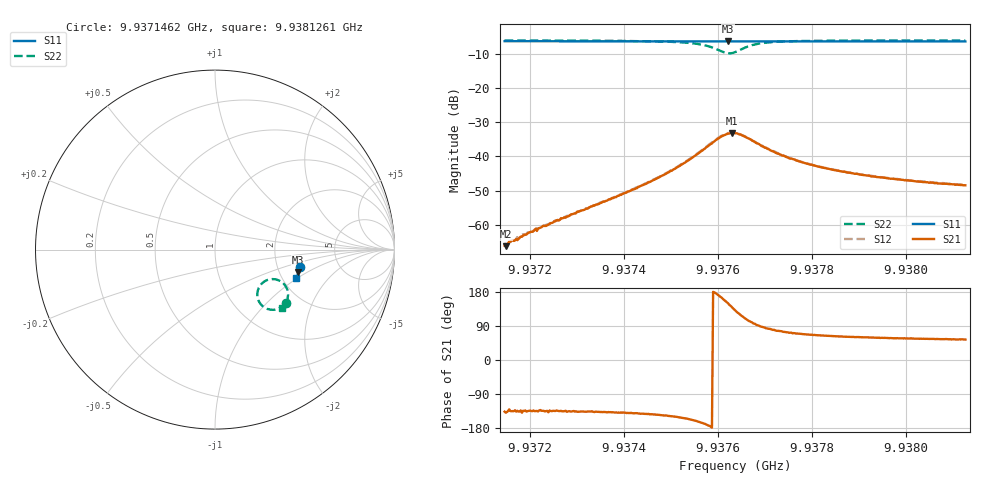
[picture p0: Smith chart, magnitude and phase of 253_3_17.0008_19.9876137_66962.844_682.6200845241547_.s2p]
#  HZ  S  RI  R  50.00
! Rohde & Schwarz Vector Network Analyzer
! Rohde-Schwarz,ZNB20-2Port,1311601062101988,3.16
! Created: UTC 3/20/2024, 11:03:22 PM
! freq[Hz]  re:S11  im:S11  re:S21  im:S21  re:S12  im:S12  re:S22  im:S22
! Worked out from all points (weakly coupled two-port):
!   401 points, 9.9371462 GHz to 9.9381261 GHz, reference 50 ohm
!   highest |S21| = -33.16 dB at 9.9376288 GHz (marker M1); lowest = -66.2 dB at 9.9371487 GHz (marker M2)
!   lowest |S11| = -6.4 dB at 9.9376215 GHz (marker M3), VSWR 2.84, Z = 126 - j41.7 ohm
!   |S11| at or under -10 dB: nowhere
!   |S22| runs from -9.9 to -6.1 dB; largest |S21 - S12| = 0.0011
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9.93714622e9  0.4743 -0.0968  -0.000358 -0.000342  -0.000393 -0.000357  0.3956 -0.3002
9.93714867e9  0.4743 -0.097  -0.000368 -0.00032  -0.000382 -0.00035  0.3953 -0.3002
9.93715847e9  0.474 -0.0977  -0.000399 -0.000403  -0.0004 -0.000391  0.3944 -0.301
9.93717072e9  0.4738 -0.0985  -0.000446 -0.000428  -0.000454 -0.000425  0.3935 -0.302
9.93722461e9  0.4729 -0.1022  -0.000639 -0.000663  -0.000658 -0.000669  0.3891 -0.3062
9.93731035e9  0.4711 -0.1079  -0.00116 -0.00113  -0.00121 -0.00113  0.3807 -0.3135
9.93739609e9  0.4694 -0.1137  -0.00212 -0.00184  -0.00217 -0.00185  0.3683 -0.3223
9.93747448e9  0.4674 -0.1193  -0.00401 -0.00284  -0.00415 -0.00281  0.3479 -0.3312
9.93752347e9  0.4662 -0.1225  -0.0068 -0.00352  -0.00694 -0.00348  0.3226 -0.3355
9.93757001e9  0.4645 -0.1257  -0.0125 -0.00276  -0.0128 -0.00252  0.2761 -0.3228
9.93760431e9  0.4629 -0.1271  -0.0185 0.0041  -0.0189 0.00469  0.2362 -0.2608
9.93762145e9  0.4623 -0.1273  -0.0185 0.0109  -0.0184 0.012  0.2479 -0.2056
9.9376288e9  0.4623 -0.1277  -0.017 0.0139  -0.0165 0.0148  0.2652 -0.1852
9.93763615e9  0.4624 -0.1276  -0.0145 0.0163  -0.0141 0.017  0.2872 -0.1713
9.9376631e9  0.4629 -0.1291  -0.00485 0.018  -0.00439 0.0182  0.364 -0.1758
9.93769249e9  0.4628 -0.1314  0.000508 0.0142  0.000959 0.0145  0.3987 -0.2132
9.93771209e9  0.4626 -0.1327  0.00182 0.0121  0.0023 0.0121  0.4056 -0.2338
9.93774884e9  0.462 -0.1353  0.00283 0.00927  0.00307 0.00914  0.4067 -0.2597
9.93780028e9  0.4608 -0.1391  0.00303 0.0069  0.00315 0.00686  0.4021 -0.2807
9.93787132e9  0.4592 -0.144  0.00282 0.00518  0.00292 0.00517  0.3948 -0.297
9.93796441e9  0.457 -0.1501  0.00255 0.00403  0.00263 0.00402  0.3867 -0.3098
9.93812608e9  0.4526 -0.1606  0.00223 0.00306  0.00227 0.00309  0.3747 -0.3246
